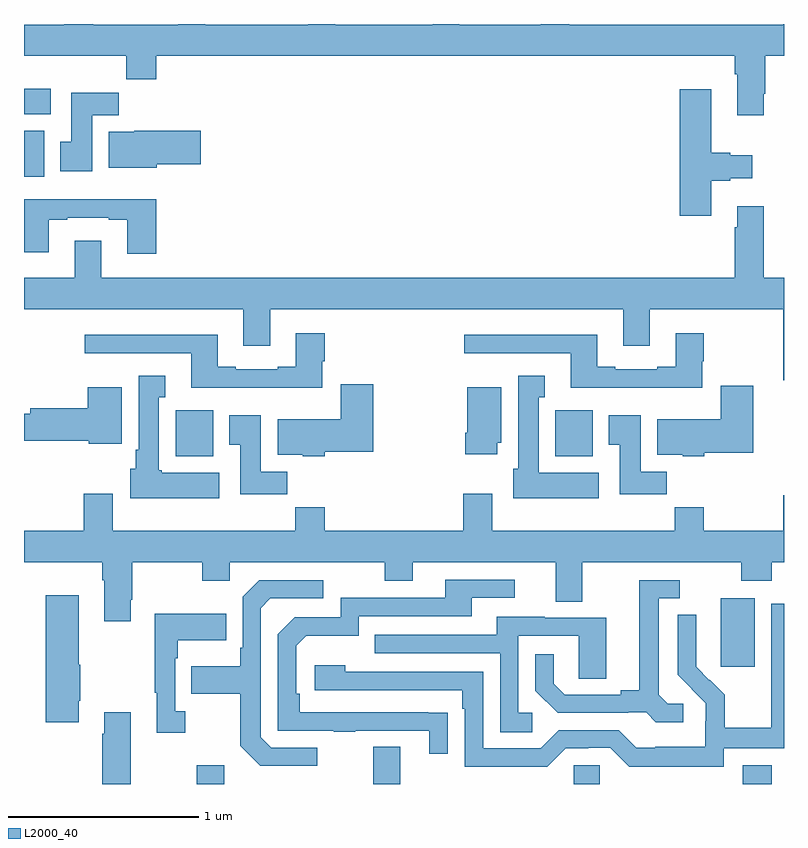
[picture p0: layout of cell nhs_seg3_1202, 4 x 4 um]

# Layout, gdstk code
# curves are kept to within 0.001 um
import gdstk
lib = gdstk.Library(unit=1e-6, precision=1e-09)
def R(c, l, rs):  # rectangles x0, y0, x1, y1
    for r in rs: c.add(gdstk.rectangle(r[:2], r[2:], *l))
def P(c, l, *ps):  # polygons
    for p in ps: c.add(gdstk.Polygon(p, *l))
L2000_40 = (2000, 40)

nhs_seg3_1202 = lib.new_cell('nhs_seg3_1202')
R(nhs_seg3_1202, L2000_40, [(173.908,714.4,174.055,714.499), (174.839,714.4,174.979,714.595), (175.893,714.4,176.031,714.498), (176.783,714.4,176.936,714.499), (176.666,715.017,176.845,715.378), (173.798,716.126,173.995,716.368), (175.796,716.126,175.993,716.368), (173,717.596,173.107,717.838), (173,717.926,173.14,718.06)])
P(nhs_seg3_1202, L2000_40, [(177,718.4),(176.996,718.4),(176.996,718.396),(175.869,718.396),(175.869,718.4),(175.721,718.4),(175.721,718.396),(175.291,718.396),(175.291,718.4),(175.151,718.4),(175.151,718.396),(174.637,718.396),(174.637,718.4),(174.497,718.4),(174.497,718.396),(173.953,718.396),(173.953,718.4),(173.813,718.4),(173.813,718.396),(173.365,718.396),(173.365,718.4),(173.213,718.4),(173.213,718.396),(173,718.396),(173,718.232),(173.539,718.232),(173.539,718.108),(173.696,718.108),(173.696,718.232),(176.741,718.232),(176.741,718.136),(176.753,718.136),(176.753,717.921),(176.893,717.921),(176.893,718.033),(176.901,718.033),(176.901,718.232),(177,718.232)],
  [(176.617,717.575),(176.717,717.575),(176.717,717.587),(176.833,717.587),(176.833,717.709),(176.717,717.709),(176.717,717.722),(176.617,717.722),(176.617,718.057),(176.45,718.057),(176.45,717.39),(176.617,717.39)],
  [(173.359,717.92),(173.498,717.92),(173.498,718.039),(173.249,718.039),(173.249,717.78),(173.192,717.78),(173.192,717.624),(173.359,717.624)],
  [(173.698,717.662),(173.929,717.662),(173.929,717.838),(173.58,717.838),(173.58,717.832),(173.447,717.832),(173.447,717.644),(173.698,717.644)],
  [(173.696,717.478),(173,717.478),(173,717.2),(173.131,717.2),(173.131,717.369),(173.227,717.369),(173.227,717.381),(173.447,717.381),(173.447,717.369),(173.543,717.369),(173.543,717.192),(173.696,717.192)],
  [(177,717.064),(176.893,717.064),(176.893,717.442),(176.753,717.442),(176.753,717.329),(176.741,717.329),(176.741,717.064),(173.407,717.064),(173.407,717.259),(173.267,717.259),(173.267,717.064),(173,717.064),(173,716.9),(174.155,716.9),(174.155,716.706),(174.295,716.706),(174.295,716.9),(176.153,716.9),(176.153,716.706),(176.293,716.706),(176.293,716.9),(176.996,716.9),(176.996,716.526),(177,716.526)],
  [(174.571,716.625),(174.584,716.625),(174.584,716.773),(174.431,716.773),(174.431,716.596),(174.335,716.596),(174.335,716.583),(174.115,716.583),(174.115,716.596),(174.019,716.596),(174.019,716.764),(173.319,716.764),(173.319,716.667),(173.879,716.667),(173.879,716.486),(174.571,716.486)],
  [(176.569,716.625),(176.577,716.625),(176.577,716.773),(176.429,716.773),(176.429,716.596),(176.333,716.596),(176.333,716.583),(176.113,716.583),(176.113,716.596),(176.017,716.596),(176.017,716.764),(175.317,716.764),(175.317,716.667),(175.877,716.667),(175.877,716.486),(176.569,716.486)],
  [(176.026,716.038),(175.708,716.038),(175.708,716.435),(175.741,716.435),(175.741,716.548),(175.601,716.548),(175.601,716.058),(175.574,716.058),(175.574,715.904),(176.026,715.904)],
  [(174.028,716.038),(173.724,716.038),(173.724,716.052),(173.71,716.052),(173.71,716.435),(173.743,716.435),(173.743,716.548),(173.603,716.548),(173.603,716.158),(173.588,716.158),(173.588,716.058),(173.558,716.058),(173.558,715.904),(174.028,715.904)],
  [(174.582,716.15),(174.839,716.15),(174.839,716.503),(174.668,716.503),(174.668,716.32),(174.335,716.32),(174.335,716.132),(174.468,716.132),(174.468,716.126),(174.582,716.126)],
  [(176.58,716.144),(176.837,716.144),(176.837,716.497),(176.666,716.497),(176.666,716.32),(176.333,716.32),(176.333,716.132),(176.466,716.132),(176.466,716.126),(176.58,716.126)],
  [(173.515,716.488),(173.336,716.488),(173.336,716.378),(173.033,716.378),(173.033,716.348),(173,716.348),(173,716.206),(173.34,716.206),(173.34,716.192),(173.515,716.192)],
  [(175.492,716.196),(175.513,716.196),(175.513,716.488),(175.334,716.488),(175.334,716.248),(175.322,716.248),(175.322,716.136),(175.492,716.136)],
  [(176.384,716.044),(176.245,716.044),(176.245,716.341),(176.078,716.341),(176.078,716.185),(176.135,716.185),(176.135,715.926),(176.384,715.926)],
  [(174.386,716.044),(174.247,716.044),(174.247,716.341),(174.08,716.341),(174.08,716.185),(174.137,716.185),(174.137,715.926),(174.386,715.926)],
  [(173.563,715.369),(173.571,715.369),(173.571,715.568),(173.938,715.568),(173.938,715.469),(174.084,715.469),(174.084,715.568),(174.898,715.568),(174.898,715.469),(175.045,715.469),(175.045,715.568),(175.799,715.568),(175.799,715.36),(175.939,715.36),(175.939,715.568),(176.776,715.568),(176.776,715.469),(176.936,715.469),(176.936,715.568),(177,715.568),(177,715.921),(176.996,715.921),(176.996,715.732),(176.577,715.732),(176.577,715.856),(176.425,715.856),(176.425,715.732),(175.465,715.732),(175.465,715.927),(175.313,715.927),(175.313,715.732),(174.584,715.732),(174.584,715.856),(174.427,715.856),(174.427,715.732),(173.467,715.732),(173.467,715.927),(173.315,715.927),(173.315,715.732),(173,715.732),(173,715.568),(173.411,715.568),(173.411,715.472),(173.423,715.472),(173.423,715.257),(173.563,715.257)],
  [(175.229,714.776),(174.452,714.777),(174.452,714.874),(174.432,714.874),(174.432,715.128),(174.485,715.181),(174.762,715.181),(174.762,715.284),(175.357,715.284),(175.357,715.38),(175.582,715.38),(175.582,715.476),(175.217,715.476),(175.217,715.38),(174.666,715.38),(174.666,715.278),(174.426,715.278),(174.336,715.188),(174.336,714.681),(174.631,714.681),(174.631,714.676),(174.743,714.676),(174.743,714.681),(175.133,714.681),(175.133,714.558),(175.229,714.558)],
  [(176.47,714.822),(176.388,714.822),(176.341,714.869),(176.341,715.377),(176.452,715.377),(176.452,715.473),(176.237,715.473),(176.237,714.893),(176.141,714.893),(176.141,714.87),(175.846,714.87),(175.789,714.927),(175.789,715.084),(175.692,715.084),(175.692,714.89),(175.808,714.774),(176.18,714.774),(176.18,714.777),(176.274,714.777),(176.326,714.725),(176.47,714.725)],
  [(174.544,714.591),(174.3,714.591),(174.246,714.645),(174.246,715.326),(174.297,715.377),(174.574,715.377),(174.574,715.473),(174.237,715.473),(174.15,715.386),(174.15,715.117),(174.138,715.117),(174.138,715.021),(173.881,715.021),(173.881,714.874),(174.138,714.874),(174.138,714.601),(174.243,714.495),(174.544,714.495)],
  [(173.287,714.838),(173.295,714.838),(173.295,715.027),(173.287,715.027),(173.287,715.393),(173.114,715.393),(173.114,714.726),(173.287,714.726)],
  [(176.682,714.588),(177,714.588),(177,715.35),(176.934,715.35),(176.934,714.92),(176.932,714.92),(176.932,714.697),(176.687,714.697),(176.687,714.871),(176.61,714.948),(176.607,714.945),(176.537,715.016),(176.538,715.292),(176.442,715.292),(176.442,714.974),(176.588,714.826),(176.588,714.729),(176.586,714.729),(176.586,714.595),(176.323,714.595),(176.323,714.591),(176.223,714.591),(176.13,714.684),(175.815,714.684),(175.719,714.588),(175.416,714.588),(175.416,714.99),(174.692,714.99),(174.692,715.024),(174.531,715.024),(174.531,714.894),(175.307,714.894),(175.307,714.797),(175.32,714.797),(175.32,714.492),(175.755,714.492),(175.851,714.588),(175.97,714.588),(175.97,714.591),(176.085,714.591),(176.185,714.491),(176.682,714.491)],
  [(173.848,714.782),(173.796,714.782),(173.796,715.061),(173.809,715.061),(173.809,715.157),(174.065,715.157),(174.065,715.297),(173.688,715.297),(173.688,714.881),(173.699,714.881),(173.699,714.669),(173.848,714.669)],
  [(175.675,714.774),(175.602,714.774),(175.602,715.179),(175.92,715.179),(175.92,714.955),(176.065,714.955),(176.065,715.275),(175.741,715.275),(175.741,715.279),(175.487,715.279),(175.487,715.185),(174.847,715.185),(174.847,715.089),(175.506,715.089),(175.506,714.673),(175.675,714.673)],
  [(173.423,714.778),(173.423,714.665),(173.411,714.665),(173.411,714.4),(173.563,714.4),(173.563,714.778)])

lib.write_gds('nhs_seg3_1202.gds')
